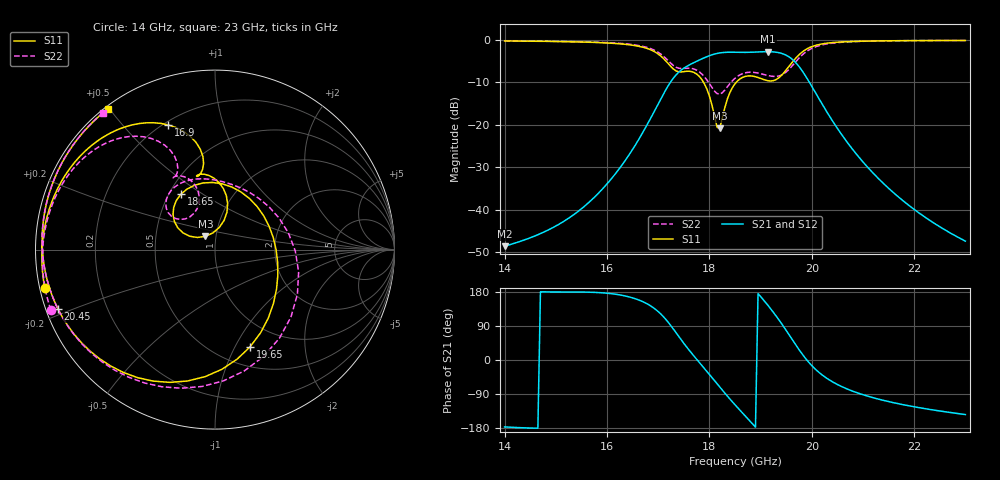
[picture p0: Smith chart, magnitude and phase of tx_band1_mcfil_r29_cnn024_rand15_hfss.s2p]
! Touchstone file exported from HFSS 3D Layout Design 2026.1.0
!  File:  D:/Work/SIM/ADS_AUTO_SIM/projects/RFSOC_RF/TX_Fillter.aedt
!  Generated:  02:25:57 AM Aug 31, 2026
!  Design:  TX_BAND1_MCFIL_R29_CNN024
!  Project:  TX_Fillter
# GHz S MA R 50.000000
! Terminal data exported
! Port[1] = Port1
! Port[2] = Port2
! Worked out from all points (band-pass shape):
!   181 points, 14 GHz to 23 GHz, reference 50 ohm
!   highest |S21| = -2.77 dB at 19.15 GHz (marker M1); lowest = -48.6 dB at 14 GHz (marker M2)
!   |S21| within 3 dB of the highest: 17.63 GHz to 19.72 GHz (2.089 GHz wide, 11.2 % of centre)
!   lowest |S11| = -20.8 dB at 18.2 GHz (marker M3), VSWR 1.20, Z = 44.5 + j6.62 ohm
!   |S11| at or under -10 dB: 17.89 GHz to 18.52 GHz (637.6 MHz wide, 3.5 % of centre)
!   |S22| runs from -12.8 to -0.1 dB; largest |S21 - S12| = 1.3e-14
!   S11 on the Smith chart (normalised r, x): 14 GHz: 0.01, -0.11; 16.9 GHz: 0.22, +0.67; 18.65 GHz: 0.57, +0.41; 19.65 GHz: 0.71, -1.15; 20.45 GHz: 0.03, -0.18; 23 GHz: 0.01, +0.50
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14  0.9722 -167.3  0.003737 -176.6  0.003737 -176.6  0.9746 -159.7
15.5  0.9444 161.6  0.01029 179.4  0.01029 179.4  0.9501 170.8
16.3  0.8941 138.0  0.03416 170.6  0.03416 170.6  0.9058 149.2
16.9  0.7416 110.5  0.1356 138.4  0.1356 138.4  0.7684 124.7
17  0.6822 105.0  0.1768 127.8  0.1768 127.8  0.714 119.9
17.25  0.4842 97.5  0.3249 90.2  0.3249 90.2  0.5291 113.5
17.5  0.4231 104.1  0.4647 44.0  0.4647 44.0  0.4617 120.2
17.85  0.3431 82.2  0.5974 -13.8  0.5974 -13.8  0.3979 108.5
18.2  0.09117 125.9  0.7025 -70.9  0.7025 -70.9  0.2299 127.3
18.5  0.3048 140.1  0.7155 -118.2  0.7155 -118.2  0.3536 139.9
18.65  0.3626 121.5  0.7133 -140.3  0.7133 -140.3  0.4013 130.6
18.9  0.3687 83.8  0.7196 -177.1  0.7196 -177.1  0.4122 109.6
19.15  0.33 34.4  0.7272 143.1  0.7272 143.1  0.3802 82.8
19.4  0.3786 -22.4  0.6967 97.9  0.6967 97.9  0.3842 38.2
19.65  0.5754 -70.1  0.5684 47.5  0.5684 47.5  0.5223 -28.4
19.85  0.7479 -101.8  0.4 8.9  0.4 8.9  0.6958 -76.5
20  0.8337 -121.2  0.2844 -14.9  0.2844 -14.9  0.7948 -103.6
20.2  0.8973 -141.1  0.1766 -39.2  0.1766 -39.2  0.8738 -129.8
20.45  0.9351 -159.2  0.1009 -61.1  0.1009 -61.1  0.923 -152.0
20.85  0.961 -179.3  0.04697 -84.8  0.04697 -84.8  0.9567 -175.0
21.5  0.9765 159.0  0.01794 -109.8  0.01794 -109.8  0.9757 161.6
23  0.9847 127.2  0.004281 -143.9  0.004281 -143.9  0.9852 129.2
